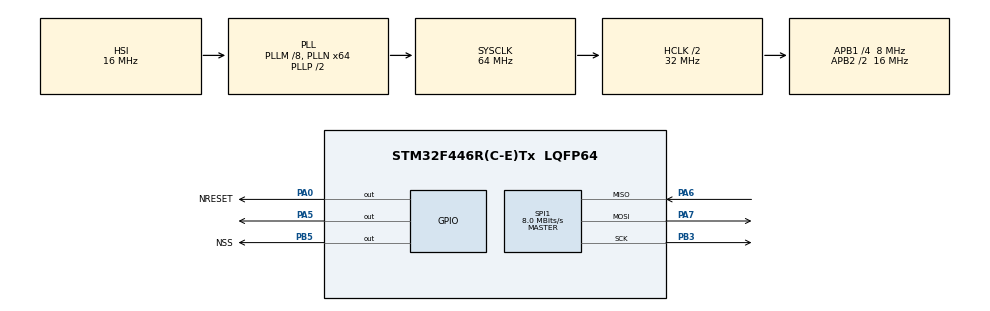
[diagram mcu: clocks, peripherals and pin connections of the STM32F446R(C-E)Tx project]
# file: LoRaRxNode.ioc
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Mcu.Family=STM32F4
Mcu.Name=STM32F446R(C-E)Tx
Mcu.Package=LQFP64
NVIC.PriorityGroup=NVIC_PRIORITYGROUP_4
PA0-WKUP.GPIO_Label=NRESET
PA0-WKUP.Signal=GPIO_Output
PA5.Signal=GPIO_Output
PA6.Mode=Full_Duplex_Master
PA6.Signal=SPI1_MISO
PA7.Mode=Full_Duplex_Master
PA7.Signal=SPI1_MOSI
PB3.Mode=Full_Duplex_Master
PB3.Signal=SPI1_SCK
PB5.GPIO_Label=NSS
PB5.GPIO_Speed=GPIO_SPEED_FREQ_VERY_HIGH
PB5.Signal=GPIO_Output
PH0-OSC_IN.Mode=HSE-External-Oscillator
PH0-OSC_IN.Signal=RCC_OSC_IN
PH1-OSC_OUT.Mode=HSE-External-Oscillator
PH1-OSC_OUT.Signal=RCC_OSC_OUT
ProjectManager.HeapSize=0x200
ProjectManager.StackSize=0x400
ProjectManager.TargetToolchain=SW4STM32
RCC.AHBCLKDivider=RCC_SYSCLK_DIV2
RCC.AHBFreq_Value=32000000
RCC.APB1CLKDivider=RCC_HCLK_DIV4
RCC.APB1Freq_Value=8000000
RCC.APB1TimFreq_Value=16000000
RCC.APB2CLKDivider=RCC_HCLK_DIV2
RCC.APB2Freq_Value=16000000
RCC.APB2TimFreq_Value=32000000
RCC.CortexFreq_Value=32000000
RCC.HCLKFreq_Value=32000000
RCC.HSE_VALUE=8000000
RCC.PLLM=8
RCC.PLLN=64
RCC.SYSCLKFreq_VALUE=64000000
RCC.SYSCLKSource=RCC_SYSCLKSOURCE_PLLCLK
RCC.USBFreq_Value=64000000
RCC.VCOOutputFreq_Value=128000000
SPI1.CalculateBaudRate=8.0 MBits/s
SPI1.Direction=SPI_DIRECTION_2LINES
SPI1.Mode=SPI_MODE_MASTER
SPI1.VirtualType=VM_MASTER
board=custom

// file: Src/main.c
/**
  ******************************************************************************
  * @file           : main.c
  * @brief          : Main program body
  ******************************************************************************
  ** This notice applies to any and all portions of this file
  * that are not between comment pairs USER CODE BEGIN and
  * USER CODE END. Other portions of this file, whether
  * inserted by the user or by software development tools
  * are owned by their respective copyright owners.
  *
  * COPYRIGHT(c) 2018 STMicroelectronics
  *
  * Redistribution and use in source and binary forms, with or without modification,
  * are permitted provided that the following conditions are met:
  *   1. Redistributions of source code must retain the above copyright notice,
  *      this list of conditions and the following disclaimer.
  *   2. Redistributions in binary form must reproduce the above copyright notice,
  *      this list of conditions and the following disclaimer in the documentation
  *      and/or other materials provided with the distribution.
  *   3. Neither the name of STMicroelectronics nor the names of its contributors
  *      may be used to endorse or promote products derived from this software
  *      without specific prior written permission.
  *
  * THIS SOFTWARE IS PROVIDED BY THE COPYRIGHT HOLDERS AND CONTRIBUTORS "AS IS"
  * AND ANY EXPRESS OR IMPLIED WARRANTIES, INCLUDING, BUT NOT LIMITED TO, THE
  * IMPLIED WARRANTIES OF MERCHANTABILITY AND FITNESS FOR A PARTICULAR PURPOSE ARE
  * DISCLAIMED. IN NO EVENT SHALL THE COPYRIGHT HOLDER OR CONTRIBUTORS BE LIABLE
  * FOR ANY DIRECT, INDIRECT, INCIDENTAL, SPECIAL, EXEMPLARY, OR CONSEQUENTIAL
  * DAMAGES (INCLUDING, BUT NOT LIMITED TO, PROCUREMENT OF SUBSTITUTE GOODS OR
  * SERVICES; LOSS OF USE, DATA, OR PROFITS; OR BUSINESS INTERRUPTION) HOWEVER
  * CAUSED AND ON ANY THEORY OF LIABILITY, WHETHER IN CONTRACT, STRICT LIABILITY,
  * OR TORT (INCLUDING NEGLIGENCE OR OTHERWISE) ARISING IN ANY WAY OUT OF THE USE
  * OF THIS SOFTWARE, EVEN IF ADVISED OF THE POSSIBILITY OF SUCH DAMAGE.
  *
  ******************************************************************************
  */
#include "main.h"
#include "stm32f4xx_hal.h"

/* USER CODE BEGIN Includes */
#include "sx1272.h"
/* USER CODE END Includes */

SPI_HandleTypeDef hspi1;

/* USER CODE BEGIN PV */
/* Private variables ---------------------------------------------------------*/
SX1272 node;
Config_Group config;
uint16_t modem = 0;
uint8_t flags = 0, rcv = -1;
uint8_t data[PAYLOAD_LENGTH + HEADER_LENGTH];
uint8_t rx0 = 0, rx1 = 0, rx2 = 0, rx3 = 0, rx4 = 0, rx5 = 0, rx6 = 0, rx7 = 0, ptr;

float temp0, temp1, temp2;

/* USER CODE END PV */

void SystemClock_Config(void);
static void MX_GPIO_Init(void);
static void MX_SPI1_Init(void);

/* USER CODE BEGIN PFP */
/* Private function prototypes -----------------------------------------------*/

/* USER CODE END PFP */

int main(void)
{

  /* MCU Configuration----------------------------------------------------------*/

  /* Reset of all peripherals, Initializes the Flash interface and the Systick. */
  HAL_Init();

  /* Configure the system clock */
  SystemClock_Config();

  /* Initialize all configured peripherals */
  MX_GPIO_Init();
  MX_SPI1_Init();
  /* USER CODE BEGIN 2 */
  config.CarrierFreq = 0;

  node.hspi = &hspi1;
  node.config = &config;

  sx1272_lora_init(&node);
  /* USER CODE END 2 */

  /* Infinite loop */
  /* USER CODE BEGIN WHILE */
  while (1)
  {
    rcv = sx1272_receive(data, PAYLOAD_LENGTH + HEADER_LENGTH, 10);

    HAL_GPIO_TogglePin(GPIOA, GPIO_PIN_5);

    rx0 = data[0];
    rx1 = data[1];
    rx2 = data[2];
    rx3 = data[3];
    rx4 = data[4];
    rx5 = data[5];
    rx6 = data[6];
    rx7 = data[7];

    temp0 = ((((uint16_t) data[15]) << 8) | ((uint16_t) data[14])) * 0.02 - 273.15;
    temp1 = ((((uint16_t) data[11]) << 8) | (uint16_t) data[10]) * 0.02 - 273.15;
    temp2 = ((((uint16_t) data[13]) << 8) | (uint16_t) data[12]) * 0.02 - 273.15;

    HAL_Delay(100);

  /* USER CODE END WHILE */

  }

}

void SystemClock_Config(void)
{

  RCC_OscInitTypeDef RCC_OscInitStruct;
  RCC_ClkInitTypeDef RCC_ClkInitStruct;

    /**Configure the main internal regulator output voltage
    */
  __HAL_RCC_PWR_CLK_ENABLE();

  __HAL_PWR_VOLTAGESCALING_CONFIG(PWR_REGULATOR_VOLTAGE_SCALE3);

    /**Initializes the CPU, AHB and APB busses clocks
    */
  RCC_OscInitStruct.OscillatorType = RCC_OSCILLATORTYPE_HSI;
  RCC_OscInitStruct.HSIState = RCC_HSI_ON;
  RCC_OscInitStruct.HSICalibrationValue = 16;
  RCC_OscInitStruct.PLL.PLLState = RCC_PLL_ON;
  RCC_OscInitStruct.PLL.PLLSource = RCC_PLLSOURCE_HSI;
  RCC_OscInitStruct.PLL.PLLM = 8;
  RCC_OscInitStruct.PLL.PLLN = 64;
  RCC_OscInitStruct.PLL.PLLP = RCC_PLLP_DIV2;
  RCC_OscInitStruct.PLL.PLLQ = 2;
  RCC_OscInitStruct.PLL.PLLR = 2;
  if (HAL_RCC_OscConfig(&RCC_OscInitStruct) != HAL_OK)
  {
    _Error_Handler(__FILE__, __LINE__);
  }

    /**Initializes the CPU, AHB and APB busses clocks
    */
  RCC_ClkInitStruct.ClockType = RCC_CLOCKTYPE_HCLK|RCC_CLOCKTYPE_SYSCLK
                              |RCC_CLOCKTYPE_PCLK1|RCC_CLOCKTYPE_PCLK2;
  RCC_ClkInitStruct.SYSCLKSource = RCC_SYSCLKSOURCE_PLLCLK;
  RCC_ClkInitStruct.AHBCLKDivider = RCC_SYSCLK_DIV2;
  RCC_ClkInitStruct.APB1CLKDivider = RCC_HCLK_DIV4;
  RCC_ClkInitStruct.APB2CLKDivider = RCC_HCLK_DIV2;

  if (HAL_RCC_ClockConfig(&RCC_ClkInitStruct, FLASH_LATENCY_1) != HAL_OK)
  {
    _Error_Handler(__FILE__, __LINE__);
  }

    /**Configure the Systick interrupt time
    */
  HAL_SYSTICK_Config(HAL_RCC_GetHCLKFreq()/1000);

    /**Configure the Systick
    */
  HAL_SYSTICK_CLKSourceConfig(SYSTICK_CLKSOURCE_HCLK);

  /* SysTick_IRQn interrupt configuration */
  HAL_NVIC_SetPriority(SysTick_IRQn, 0, 0);
}

/* SPI1 init function */
static void MX_SPI1_Init(void)
{

  /* SPI1 parameter configuration*/
  hspi1.Instance = SPI1;
  hspi1.Init.Mode = SPI_MODE_MASTER;
  hspi1.Init.Direction = SPI_DIRECTION_2LINES;
  hspi1.Init.DataSize = SPI_DATASIZE_8BIT;
  hspi1.Init.CLKPolarity = SPI_POLARITY_LOW;
  hspi1.Init.CLKPhase = SPI_PHASE_1EDGE;
  hspi1.Init.NSS = SPI_NSS_SOFT;
  hspi1.Init.BaudRatePrescaler = SPI_BAUDRATEPRESCALER_2;
  hspi1.Init.FirstBit = SPI_FIRSTBIT_MSB;
  hspi1.Init.TIMode = SPI_TIMODE_DISABLE;
  hspi1.Init.CRCCalculation = SPI_CRCCALCULATION_DISABLE;
  hspi1.Init.CRCPolynomial = 10;
  if (HAL_SPI_Init(&hspi1) != HAL_OK)
  {
    _Error_Handler(__FILE__, __LINE__);
  }

}

/** Configure pins as
        * Analog
        * Input
        * Output
        * EVENT_OUT
        * EXTI
*/
static void MX_GPIO_Init(void)
{

  GPIO_InitTypeDef GPIO_InitStruct;

  /* GPIO Ports Clock Enable */
  __HAL_RCC_GPIOH_CLK_ENABLE();
  __HAL_RCC_GPIOA_CLK_ENABLE();
  __HAL_RCC_GPIOB_CLK_ENABLE();

  /*Configure GPIO pin Output Level */
  HAL_GPIO_WritePin(GPIOA, NRESET_Pin|GPIO_PIN_5, GPIO_PIN_RESET);

  /*Configure GPIO pin Output Level */
  HAL_GPIO_WritePin(NSS_GPIO_Port, NSS_Pin, GPIO_PIN_RESET);

  /*Configure GPIO pins : NRESET_Pin PA5 */
  GPIO_InitStruct.Pin = NRESET_Pin|GPIO_PIN_5;
  GPIO_InitStruct.Mode = GPIO_MODE_OUTPUT_PP;
  GPIO_InitStruct.Pull = GPIO_NOPULL;
  GPIO_InitStruct.Speed = GPIO_SPEED_FREQ_LOW;
  HAL_GPIO_Init(GPIOA, &GPIO_InitStruct);

  /*Configure GPIO pin : NSS_Pin */
  GPIO_InitStruct.Pin = NSS_Pin;
  GPIO_InitStruct.Mode = GPIO_MODE_OUTPUT_PP;
  GPIO_InitStruct.Pull = GPIO_NOPULL;
  GPIO_InitStruct.Speed = GPIO_SPEED_FREQ_VERY_HIGH;
  HAL_GPIO_Init(NSS_GPIO_Port, &GPIO_InitStruct);

}

void _Error_Handler(char *file, int line)
{
  while(1)
  {
  }
}

/************************ (C) COPYRIGHT STMicroelectronics *****END OF FILE****/
